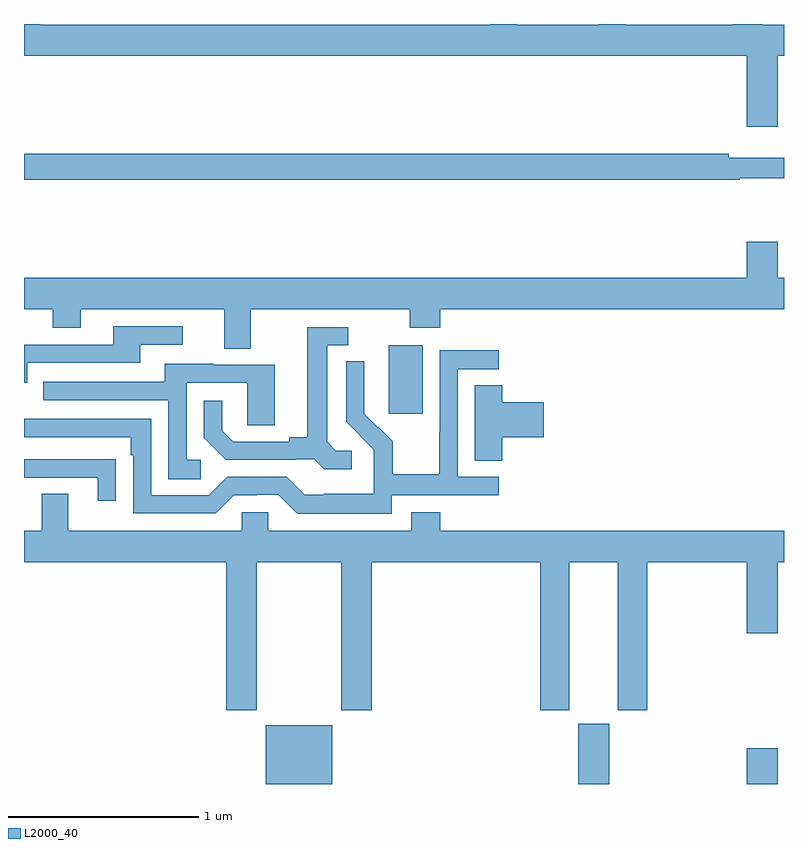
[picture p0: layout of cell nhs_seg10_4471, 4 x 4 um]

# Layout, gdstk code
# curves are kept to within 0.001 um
import gdstk
lib = gdstk.Library(unit=1e-6, precision=1e-09)
def R(c, l, rs):  # rectangles x0, y0, x1, y1
    for r in rs: c.add(gdstk.rectangle(r[:2], r[2:], *l))
def P(c, l, *ps):  # polygons
    for p in ps: c.add(gdstk.Polygon(p, *l))
L2000_40 = (2000, 40)

nhs_seg10_4471 = lib.new_cell('nhs_seg10_4471')
R(nhs_seg10_4471, L2000_40, [(366.272,1280.5,366.622,1280.809), (367.916,1280.5,368.08,1280.817), (368.804,1280.5,368.968,1280.689), (366.92,1282.449,367.099,1282.81)])
P(nhs_seg10_4471, L2000_40, [(368.968,1284.332),(369,1284.332),(369,1284.496),(368.889,1284.496),(368.889,1284.5),(368.729,1284.5),(368.729,1284.496),(368.168,1284.496),(368.168,1284.5),(368.024,1284.5),(368.024,1284.496),(367.594,1284.496),(367.594,1284.5),(367.454,1284.5),(367.454,1284.496),(365.086,1284.496),(365.086,1284.5),(365,1284.5),(365,1284.332),(368.804,1284.332),(368.804,1283.958),(368.968,1283.958)],
  [(368.767,1283.688),(369,1283.688),(369,1283.797),(368.708,1283.797),(368.708,1283.816),(365,1283.816),(365,1283.68),(368.767,1283.68)],
  [(366.193,1283),(367.03,1283),(367.03,1282.901),(367.19,1282.901),(367.19,1283),(369,1283),(369,1283.164),(368.968,1283.164),(368.968,1283.353),(368.804,1283.353),(368.804,1283.164),(365,1283.164),(365,1283),(365.152,1283),(365.152,1282.901),(365.299,1282.901),(365.299,1283),(366.053,1283),(366.053,1282.792),(366.193,1282.792)],
  [(365.016,1282.716),(365.611,1282.716),(365.611,1282.812),(365.836,1282.812),(365.836,1282.908),(365.471,1282.908),(365.471,1282.812),(365,1282.812),(365,1282.613),(365.016,1282.613)],
  [(366.724,1282.254),(366.642,1282.254),(366.595,1282.301),(366.595,1282.809),(366.706,1282.809),(366.706,1282.905),(366.491,1282.905),(366.491,1282.325),(366.395,1282.325),(366.395,1282.302),(366.1,1282.302),(366.043,1282.359),(366.043,1282.516),(365.946,1282.516),(365.946,1282.322),(366.062,1282.206),(366.434,1282.206),(366.434,1282.209),(366.528,1282.209),(366.58,1282.157),(366.724,1282.157)],
  [(366.936,1282.02),(367.498,1282.02),(367.498,1282.116),(367.284,1282.116),(367.284,1282.683),(367.498,1282.683),(367.498,1282.782),(367.188,1282.782),(367.188,1282.352),(367.186,1282.352),(367.186,1282.129),(366.941,1282.129),(366.941,1282.303),(366.864,1282.38),(366.861,1282.377),(366.791,1282.448),(366.792,1282.724),(366.696,1282.724),(366.696,1282.406),(366.842,1282.258),(366.842,1282.161),(366.84,1282.161),(366.84,1282.027),(366.577,1282.027),(366.577,1282.023),(366.477,1282.023),(366.384,1282.116),(366.069,1282.116),(365.973,1282.02),(365.67,1282.02),(365.67,1282.422),(365,1282.422),(365,1282.326),(365.561,1282.326),(365.561,1282.229),(365.574,1282.229),(365.574,1281.924),(366.009,1281.924),(366.105,1282.02),(366.224,1282.02),(366.224,1282.023),(366.339,1282.023),(366.439,1281.923),(366.936,1281.923)],
  [(365.929,1282.206),(365.856,1282.206),(365.856,1282.611),(366.174,1282.611),(366.174,1282.387),(366.319,1282.387),(366.319,1282.707),(365.995,1282.707),(365.995,1282.711),(365.741,1282.711),(365.741,1282.617),(365.101,1282.617),(365.101,1282.521),(365.76,1282.521),(365.76,1282.105),(365.929,1282.105)],
  [(367.517,1282.325),(367.735,1282.325),(367.735,1282.508),(367.517,1282.508),(367.517,1282.598),(367.373,1282.598),(367.373,1282.201),(367.517,1282.201)],
  [(365.483,1282.208),(365.381,1282.208),(365.381,1282.209),(365,1282.209),(365,1282.113),(365.387,1282.113),(365.387,1281.99),(365.483,1281.99)],
  [(366.225,1281.668),(366.67,1281.668),(366.67,1280.889),(366.83,1280.889),(366.83,1281.668),(367.718,1281.668),(367.718,1280.889),(367.87,1280.889),(367.87,1281.668),(368.126,1281.668),(368.126,1280.889),(368.279,1280.889),(368.279,1281.668),(368.804,1281.668),(368.804,1281.294),(368.968,1281.294),(368.968,1281.668),(369,1281.668),(369,1281.832),(367.19,1281.832),(367.19,1281.931),(367.037,1281.931),(367.037,1281.832),(366.285,1281.832),(366.285,1281.93),(366.147,1281.93),(366.147,1281.832),(365.233,1281.832),(365.233,1282.027),(365.093,1282.027),(365.093,1281.832),(365,1281.832),(365,1281.668),(366.065,1281.668),(366.065,1280.889),(366.225,1280.889)])

lib.write_gds('nhs_seg10_4471.gds')
